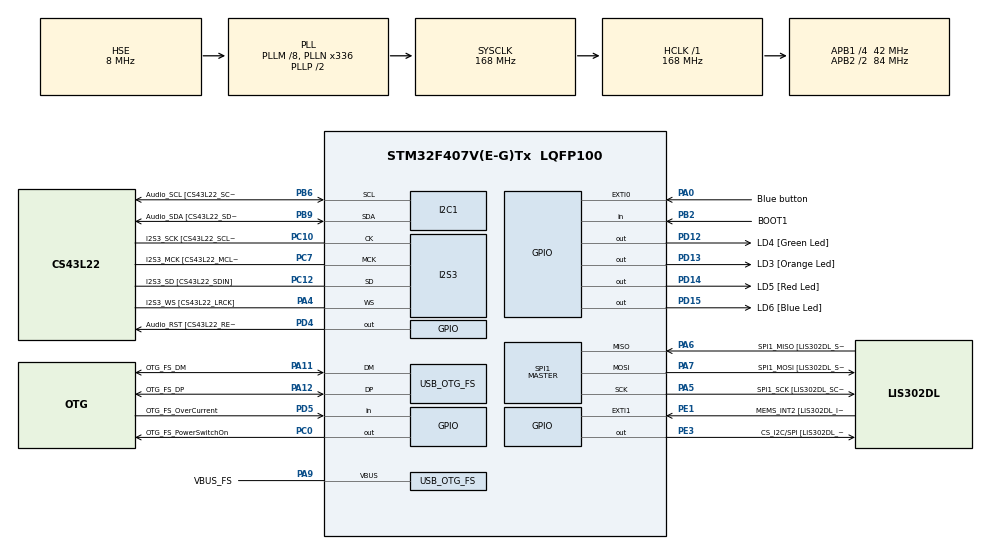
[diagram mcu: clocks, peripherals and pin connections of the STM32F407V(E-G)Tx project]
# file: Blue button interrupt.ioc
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I2S3.AudioFreq-Half_Duplex_Master=I2S_AUDIOFREQ_96K
I2S3.ErrorAudioFreq=-2.34 %
I2S3.ErrorAudioFreq-Half_Duplex_Master=0.8 %
I2S3.FullDuplexMode=I2S_FULLDUPLEXMODE_DISABLE
I2S3.Instance=SPI$Index
I2S3.RealAudioFreq=93.75 KHz
I2S3.RealAudioFreq-Half_Duplex_Master=96.774 KHz
I2S3.VirtualMode=I2S_MODE_MASTER
Mcu.Family=STM32F4
Mcu.Name=STM32F407V(E-G)Tx
Mcu.Package=LQFP100
NVIC.EXTI0_IRQn=true\:0\:0\:false\:false\:true\:true\:true\:true
NVIC.OTG_FS_IRQn=true\:0\:0\:false\:false\:true\:true\:true\:true
NVIC.PriorityGroup=NVIC_PRIORITYGROUP_0
PA0-WKUP.GPIO_Label=Blue button
PA0-WKUP.GPIO_PuPd=GPIO_PULLDOWN
PA0-WKUP.Signal=GPXTI0
PA10.GPIO_Label=OTG_FS_ID
PA10.GPIO_Mode=GPIO_MODE_AF_PP
PA10.GPIO_PuPd=GPIO_NOPULL
PA10.GPIO_Speed=GPIO_SPEED_FREQ_LOW
PA10.Signal=USB_OTG_FS_ID
PA11.GPIO_Label=OTG_FS_DM
PA11.GPIO_Mode=GPIO_MODE_AF_PP
PA11.GPIO_PuPd=GPIO_NOPULL
PA11.GPIO_Speed=GPIO_SPEED_FREQ_LOW
PA11.Mode=Host_Only
PA11.Signal=USB_OTG_FS_DM
PA12.GPIO_Label=OTG_FS_DP
PA12.GPIO_Mode=GPIO_MODE_AF_PP
PA12.GPIO_PuPd=GPIO_NOPULL
PA12.GPIO_Speed=GPIO_SPEED_FREQ_LOW
PA12.Mode=Host_Only
PA12.Signal=USB_OTG_FS_DP
PA13.GPIO_Label=SWDIO
PA13.Mode=Serial_Wire
PA13.Signal=SYS_JTMS-SWDIO
PA14.GPIO_Label=SWCLK
PA14.Mode=Serial_Wire
PA14.Signal=SYS_JTCK-SWCLK
PA4.GPIO_Label=I2S3_WS [CS43L22_LRCK]
PA4.GPIO_Mode=GPIO_MODE_AF_PP
PA4.GPIO_PuPd=GPIO_NOPULL
PA4.GPIO_Speed=GPIO_SPEED_FREQ_LOW
PA4.Mode=Half_Duplex_Master
PA4.Signal=I2S3_WS
PA5.GPIO_Label=SPI1_SCK [LIS302DL_SCL/SPC]
PA5.GPIO_Mode=GPIO_MODE_AF_PP
PA5.GPIO_PuPd=GPIO_NOPULL
PA5.GPIO_Speed=GPIO_SPEED_FREQ_LOW
PA5.Mode=Full_Duplex_Master
PA5.Signal=SPI1_SCK
PA6.GPIO_Label=SPI1_MISO [LIS302DL_SDO]
PA6.GPIO_Mode=GPIO_MODE_AF_PP
PA6.GPIO_PuPd=GPIO_NOPULL
PA6.GPIO_Speed=GPIO_SPEED_FREQ_LOW
PA6.Mode=Full_Duplex_Master
PA6.Signal=SPI1_MISO
PA7.GPIO_Label=SPI1_MOSI [LIS302DL_SDA/SDI/SDO]
PA7.GPIO_Mode=GPIO_MODE_AF_PP
PA7.GPIO_PuPd=GPIO_NOPULL
PA7.GPIO_Speed=GPIO_SPEED_FREQ_LOW
PA7.Mode=Full_Duplex_Master
PA7.Signal=SPI1_MOSI
PA9.GPIO_Label=VBUS_FS
PA9.GPIO_Mode=GPIO_MODE_INPUT
PA9.GPIO_PuPd=GPIO_NOPULL
PA9.Mode=Activate_VBUS
PA9.Signal=USB_OTG_FS_VBUS
PB10.GPIO_Label=CLK_IN [MP45DT02_CLK]
PB10.GPIO_Mode=GPIO_MODE_AF_PP
PB10.GPIO_PuPd=GPIO_NOPULL
PB10.GPIO_Speed=GPIO_SPEED_FREQ_LOW
PB10.Signal=I2S2_CK
PB2.GPIO_Label=BOOT1
PB2.GPIO_Mode=GPIO_MODE_INPUT
PB2.GPIO_PuPd=GPIO_NOPULL
PB2.Signal=GPIO_Input
PB3.GPIO_Label=SWO
PB3.Signal=SYS_JTDO-SWO
PB6.GPIO_Label=Audio_SCL [CS43L22_SCL]
PB6.GPIO_Mode=GPIO_MODE_AF_OD
PB6.GPIO_Pu=GPIO_PULLUP
PB6.GPIO_PuPd=GPIO_NOPULL
PB6.GPIO_Speed=GPIO_SPEED_FREQ_LOW
PB6.Mode=I2C
PB6.Signal=I2C1_SCL
PB9.GPIO_Label=Audio_SDA [CS43L22_SDA]
PB9.GPIO_Mode=GPIO_MODE_AF_OD
PB9.GPIO_Pu=GPIO_PULLUP
PB9.GPIO_PuPd=GPIO_NOPULL
PB9.GPIO_Speed=GPIO_SPEED_FREQ_LOW
PB9.Mode=I2C
PB9.Signal=I2C1_SDA
PC0.GPIO_Label=OTG_FS_PowerSwitchOn
PC0.GPIO_PuPd=GPIO_NOPULL
PC0.GPIO_Speed=GPIO_SPEED_FREQ_LOW
PC0.PinState=GPIO_PIN_SET
PC0.Signal=GPIO_Output
PC10.GPIO_Label=I2S3_SCK [CS43L22_SCLK]
PC10.GPIO_Mode=GPIO_MODE_AF_PP
PC10.GPIO_PuPd=GPIO_NOPULL
PC10.GPIO_Speed=GPIO_SPEED_FREQ_LOW
PC10.Mode=Half_Duplex_Master
PC10.Signal=I2S3_CK
PC12.GPIO_Label=I2S3_SD [CS43L22_SDIN]
PC12.GPIO_Mode=GPIO_MODE_AF_PP
PC12.GPIO_PuPd=GPIO_NOPULL
PC12.GPIO_Speed=GPIO_SPEED_FREQ_LOW
PC12.Mode=Half_Duplex_Master
PC12.Signal=I2S3_SD
PC14-OSC32_IN.GPIO_Label=PC14-OSC32_IN
PC14-OSC32_IN.Mode=LSE-External-Oscillator
PC14-OSC32_IN.Signal=RCC_OSC32_IN
PC15-OSC32_OUT.GPIO_Label=PC15-OSC32_OUT
PC15-OSC32_OUT.Mode=LSE-External-Oscillator
PC15-OSC32_OUT.Signal=RCC_OSC32_OUT
PC3.GPIO_Label=PDM_OUT [MP45DT02_DOUT]
PC3.GPIO_Mode=GPIO_MODE_AF_PP
PC3.GPIO_PuPd=GPIO_NOPULL
PC3.GPIO_Speed=GPIO_SPEED_FREQ_LOW
PC3.Signal=I2S2_SD
PC7.GPIO_Label=I2S3_MCK [CS43L22_MCLK]
PC7.GPIO_Mode=GPIO_MODE_AF_PP
PC7.GPIO_PuPd=GPIO_NOPULL
PC7.GPIO_Speed=GPIO_SPEED_FREQ_LOW
PC7.Mode=Master_Clock_Activated
PC7.Signal=I2S3_MCK
PD12.GPIO_Label=LD4 [Green Led]
PD12.GPIO_PuPd=GPIO_NOPULL
PD12.GPIO_Speed=GPIO_SPEED_FREQ_LOW
PD12.Signal=GPIO_Output
PD13.GPIO_Label=LD3 [Orange Led]
PD13.GPIO_PuPd=GPIO_NOPULL
PD13.GPIO_Speed=GPIO_SPEED_FREQ_LOW
PD13.Signal=GPIO_Output
PD14.GPIO_Label=LD5 [Red Led]
PD14.GPIO_PuPd=GPIO_NOPULL
PD14.GPIO_Speed=GPIO_SPEED_FREQ_LOW
PD14.Signal=GPIO_Output
PD15.GPIO_Label=LD6 [Blue Led]
PD15.GPIO_PuPd=GPIO_NOPULL
PD15.GPIO_Speed=GPIO_SPEED_FREQ_LOW
PD15.Signal=GPIO_Output
PD4.GPIO_Label=Audio_RST [CS43L22_RESET]
PD4.GPIO_PuPd=GPIO_NOPULL
PD4.GPIO_Speed=GPIO_SPEED_FREQ_LOW
PD4.Signal=GPIO_Output
PD5.GPIO_Label=OTG_FS_OverCurrent
PD5.GPIO_Mode=GPIO_MODE_INPUT
PD5.GPIO_PuPd=GPIO_NOPULL
PD5.Signal=GPIO_Input
PE1.GPIO_Label=MEMS_INT2 [LIS302DL_INT2]
PE1.GPIO_ModeDefaultEXTI=GPIO_MODE_EVT_RISING
PE1.GPIO_PuPd=GPIO_NOPULL
PE1.Signal=GPXTI1
PE3.GPIO_Label=CS_I2C/SPI [LIS302DL_CS_I2C/SPI]
PE3.GPIO_PuPd=GPIO_NOPULL
PE3.GPIO_Speed=GPIO_SPEED_FREQ_LOW
PE3.Signal=GPIO_Output
PH0-OSC_IN.GPIO_Label=PH0-OSC_IN
PH0-OSC_IN.Mode=HSE-External-Oscillator
PH0-OSC_IN.Signal=RCC_OSC_IN
PH1-OSC_OUT.GPIO_Label=PH1-OSC_OUT
PH1-OSC_OUT.Mode=HSE-External-Oscillator
PH1-OSC_OUT.Signal=RCC_OSC_OUT
ProjectManager.HeapSize=0x400
ProjectManager.StackSize=0x800
ProjectManager.TargetToolchain=STM32CubeIDE
RCC.48MHZClocksFreq_Value=48000000
RCC.AHBFreq_Value=168000000
RCC.APB1CLKDivider=RCC_HCLK_DIV4
RCC.APB1Freq_Value=42000000
RCC.APB1TimFreq_Value=84000000
RCC.APB2CLKDivider=RCC_HCLK_DIV2
RCC.APB2Freq_Value=84000000
RCC.APB2TimFreq_Value=168000000
RCC.CortexFreq_Value=168000000
RCC.HCLKFreq_Value=168000000
RCC.HSE_VALUE=8000000
RCC.HSI_VALUE=16000000
RCC.PLLM=8
RCC.PLLN=336
RCC.PLLQ=7
RCC.SYSCLKFreq_VALUE=168000000
RCC.SYSCLKSource=RCC_SYSCLKSOURCE_PLLCLK
RCC.VCOOutputFreq_Value=336000000
SPI1.BaudRatePrescaler-Full_Duplex_Master=SPI_BAUDRATEPRESCALER_2
SPI1.CalculateBaudRate-Full_Duplex_Master=42.0 MBits/s
SPI1.Direction=SPI_DIRECTION_2LINES
SPI1.Mode=SPI_MODE_MASTER
SPI1.Mode-Full_Duplex_Master=SPI_MODE_MASTER
SPI1.VirtualType=VM_MASTER
USB_HOST.BSP.number=1
USB_HOST.USBH_HandleTypeDef-CDC_FS=hUsbHostFS
USB_HOST.VirtualModeFS=Cdc
USB_HOST0.BSP.STBoard=false
USB_HOST0.BSP.api=Unknown
USB_HOST0.BSP.instance=PC0
USB_HOST0.BSP.ip=GPIO
USB_HOST0.BSP.mode=Output
USB_HOST0.BSP.name=Drive_VBUS_FS
USB_HOST0.BSP.solution=PC0
USB_OTG_FS.VirtualMode=Host_Only
USB_OTG_FS.phy_itface=HCD_PHY_EMBEDDED
VP_USB_HOST_VS_USB_HOST_CDC_FS.Mode=CDC_FS
board=STM32F407G-DISC1

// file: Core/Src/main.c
/* USER CODE BEGIN Header */
/**
 ******************************************************************************
 * @file           : main.c
 * @brief          : Main program body
 ******************************************************************************
 * @attention
 *
 * Copyright (c) 2025 STMicroelectronics.
 * All rights reserved.
 *
 * This software is licensed under terms that can be found in the LICENSE file
 * in the root directory of this software component.
 * If no LICENSE file comes with this software, it is provided AS-IS.
 *
 ******************************************************************************
 */
/* USER CODE END Header */
#include "main.h"

#include "usb_host.h"

/* USER CODE BEGIN Includes */

#include <stdbool.h>
/* USER CODE END Includes */

/* USER CODE BEGIN PD */
#define LED_PORT GPIOD
#define LED_PIN_GREEN GPIO_PIN_12
#define LED_PIN_ORANGE GPIO_PIN_13
#define LED_PIN_RED GPIO_PIN_14
#define LED_PIN_BLUE GPIO_PIN_15

#define BUTTON_PORT GPIOA
#define BUTTON_BLUE_PIN GPIO_PIN_0
/* USER CODE END PD */

I2C_HandleTypeDef hi2c1;

I2S_HandleTypeDef hi2s3;

SPI_HandleTypeDef hspi1;

volatile uint32_t button_event = 0;

void SystemClock_Config(void);
static void MX_GPIO_Init(void);
static void MX_I2C1_Init(void);
static void MX_I2S3_Init(void);
static void MX_SPI1_Init(void);
void MX_USB_HOST_Process(void);

/* USER CODE BEGIN PFP */
void pin_on(GPIO_TypeDef* port, uint16_t pin) {
    HAL_GPIO_WritePin(port, pin, GPIO_PIN_SET);
}
void pin_off(GPIO_TypeDef* port, uint16_t pin) {
    HAL_GPIO_WritePin(port, pin, GPIO_PIN_RESET);
}
bool blue_button_pressed() {
    return HAL_GPIO_ReadPin(GPIOA, BUTTON_BLUE_PIN) == GPIO_PIN_SET;
}
void HAL_GPIO_EXTI_Callback(uint16_t GPIO_Pin) {
    // if (GPIO_Pin == BUTTON_BLUE_PIN) {  // PA0/B1
    //     // static uint32_t last = 0;
    //     // uint32_t now = HAL_GetTick();
    //     // if (now - last > 30) button_event++;  // 簡單防彈跳
    //     // last = now;
    // }
    if (blue_button_pressed()) {
        HAL_GPIO_TogglePin(LED_PORT, LED_PIN_BLUE);
    }
}
/* USER CODE END PFP */

int main(void) {

    /* MCU
     * Configuration--------------------------------------------------------*/

    /* Reset of all peripherals, Initializes the Flash interface and the
     * Systick. */
    HAL_Init();

    /* Configure the system clock */
    SystemClock_Config();

    /* Initialize all configured peripherals */
    MX_GPIO_Init();
    MX_I2C1_Init();
    MX_I2S3_Init();
    MX_SPI1_Init();
    MX_USB_HOST_Init();

    /* Infinite loop */
    /* USER CODE BEGIN WHILE */
    while (1) {
        const uint16_t LEDs = LED_PIN_RED;
        pin_on(LED_PORT, LEDs);
        HAL_Delay(200);
        pin_off(LED_PORT, LEDs);
        HAL_Delay(200);
        /* USER CODE END WHILE */
        MX_USB_HOST_Process();

    }
}

void SystemClock_Config(void) {
    RCC_OscInitTypeDef RCC_OscInitStruct = {0};
    RCC_ClkInitTypeDef RCC_ClkInitStruct = {0};

    /** Configure the main internal regulator output voltage
     */
    __HAL_RCC_PWR_CLK_ENABLE();
    __HAL_PWR_VOLTAGESCALING_CONFIG(PWR_REGULATOR_VOLTAGE_SCALE1);

    /** Initializes the RCC Oscillators according to the specified parameters
     * in the RCC_OscInitTypeDef structure.
     */
    RCC_OscInitStruct.OscillatorType = RCC_OSCILLATORTYPE_HSE;
    RCC_OscInitStruct.HSEState = RCC_HSE_ON;
    RCC_OscInitStruct.PLL.PLLState = RCC_PLL_ON;
    RCC_OscInitStruct.PLL.PLLSource = RCC_PLLSOURCE_HSE;
    RCC_OscInitStruct.PLL.PLLM = 8;
    RCC_OscInitStruct.PLL.PLLN = 336;
    RCC_OscInitStruct.PLL.PLLP = RCC_PLLP_DIV2;
    RCC_OscInitStruct.PLL.PLLQ = 7;
    if (HAL_RCC_OscConfig(&RCC_OscInitStruct) != HAL_OK) {
        Error_Handler();
    }

    /** Initializes the CPU, AHB and APB buses clocks
     */
    RCC_ClkInitStruct.ClockType = RCC_CLOCKTYPE_HCLK | RCC_CLOCKTYPE_SYSCLK |
                                  RCC_CLOCKTYPE_PCLK1 | RCC_CLOCKTYPE_PCLK2;
    RCC_ClkInitStruct.SYSCLKSource = RCC_SYSCLKSOURCE_PLLCLK;
    RCC_ClkInitStruct.AHBCLKDivider = RCC_SYSCLK_DIV1;
    RCC_ClkInitStruct.APB1CLKDivider = RCC_HCLK_DIV4;
    RCC_ClkInitStruct.APB2CLKDivider = RCC_HCLK_DIV2;

    if (HAL_RCC_ClockConfig(&RCC_ClkInitStruct, FLASH_LATENCY_5) != HAL_OK) {
        Error_Handler();
    }
}

static void MX_I2C1_Init(void) {

    hi2c1.Instance = I2C1;
    hi2c1.Init.ClockSpeed = 100000;
    hi2c1.Init.DutyCycle = I2C_DUTYCYCLE_2;
    hi2c1.Init.OwnAddress1 = 0;
    hi2c1.Init.AddressingMode = I2C_ADDRESSINGMODE_7BIT;
    hi2c1.Init.DualAddressMode = I2C_DUALADDRESS_DISABLE;
    hi2c1.Init.OwnAddress2 = 0;
    hi2c1.Init.GeneralCallMode = I2C_GENERALCALL_DISABLE;
    hi2c1.Init.NoStretchMode = I2C_NOSTRETCH_DISABLE;
    if (HAL_I2C_Init(&hi2c1) != HAL_OK) {
        Error_Handler();
    }
}

static void MX_I2S3_Init(void) {

    hi2s3.Instance = SPI3;
    hi2s3.Init.Mode = I2S_MODE_MASTER_TX;
    hi2s3.Init.Standard = I2S_STANDARD_PHILIPS;
    hi2s3.Init.DataFormat = I2S_DATAFORMAT_16B;
    hi2s3.Init.MCLKOutput = I2S_MCLKOUTPUT_ENABLE;
    hi2s3.Init.AudioFreq = I2S_AUDIOFREQ_96K;
    hi2s3.Init.CPOL = I2S_CPOL_LOW;
    hi2s3.Init.ClockSource = I2S_CLOCK_PLL;
    hi2s3.Init.FullDuplexMode = I2S_FULLDUPLEXMODE_DISABLE;
    if (HAL_I2S_Init(&hi2s3) != HAL_OK) {
        Error_Handler();
    }
}

static void MX_SPI1_Init(void) {

    /* SPI1 parameter configuration*/
    hspi1.Instance = SPI1;
    hspi1.Init.Mode = SPI_MODE_MASTER;
    hspi1.Init.Direction = SPI_DIRECTION_2LINES;
    hspi1.Init.DataSize = SPI_DATASIZE_8BIT;
    hspi1.Init.CLKPolarity = SPI_POLARITY_LOW;
    hspi1.Init.CLKPhase = SPI_PHASE_1EDGE;
    hspi1.Init.NSS = SPI_NSS_SOFT;
    hspi1.Init.BaudRatePrescaler = SPI_BAUDRATEPRESCALER_2;
    hspi1.Init.FirstBit = SPI_FIRSTBIT_MSB;
    hspi1.Init.TIMode = SPI_TIMODE_DISABLE;
    hspi1.Init.CRCCalculation = SPI_CRCCALCULATION_DISABLE;
    hspi1.Init.CRCPolynomial = 10;
    if (HAL_SPI_Init(&hspi1) != HAL_OK) {
        Error_Handler();
    }
}

static void MX_GPIO_Init(void) {
    GPIO_InitTypeDef GPIO_InitStruct = {0};

    /* GPIO Ports Clock Enable */
    __HAL_RCC_GPIOE_CLK_ENABLE();
    __HAL_RCC_GPIOC_CLK_ENABLE();
    __HAL_RCC_GPIOH_CLK_ENABLE();
    __HAL_RCC_GPIOA_CLK_ENABLE();
    __HAL_RCC_GPIOB_CLK_ENABLE();
    __HAL_RCC_GPIOD_CLK_ENABLE();

    /*Configure GPIO pin Output Level */
    HAL_GPIO_WritePin(CS_I2C_SPI_GPIO_Port, CS_I2C_SPI_Pin, GPIO_PIN_RESET);

    /*Configure GPIO pin Output Level */
    HAL_GPIO_WritePin(OTG_FS_PowerSwitchOn_GPIO_Port, OTG_FS_PowerSwitchOn_Pin,
                      GPIO_PIN_SET);

    /*Configure GPIO pin Output Level */
    HAL_GPIO_WritePin(GPIOD,
                      LD4_Pin | LD3_Pin | LD5_Pin | LD6_Pin | Audio_RST_Pin,
                      GPIO_PIN_RESET);

    /*Configure GPIO pin : CS_I2C_SPI_Pin */
    GPIO_InitStruct.Pin = CS_I2C_SPI_Pin;
    GPIO_InitStruct.Mode = GPIO_MODE_OUTPUT_PP;
    GPIO_InitStruct.Pull = GPIO_NOPULL;
    GPIO_InitStruct.Speed = GPIO_SPEED_FREQ_LOW;
    HAL_GPIO_Init(CS_I2C_SPI_GPIO_Port, &GPIO_InitStruct);

    /*Configure GPIO pin : OTG_FS_PowerSwitchOn_Pin */
    GPIO_InitStruct.Pin = OTG_FS_PowerSwitchOn_Pin;
    GPIO_InitStruct.Mode = GPIO_MODE_OUTPUT_PP;
    GPIO_InitStruct.Pull = GPIO_NOPULL;
    GPIO_InitStruct.Speed = GPIO_SPEED_FREQ_LOW;
    HAL_GPIO_Init(OTG_FS_PowerSwitchOn_GPIO_Port, &GPIO_InitStruct);

    /*Configure GPIO pin : PDM_OUT_Pin */
    GPIO_InitStruct.Pin = PDM_OUT_Pin;
    GPIO_InitStruct.Mode = GPIO_MODE_AF_PP;
    GPIO_InitStruct.Pull = GPIO_NOPULL;
    GPIO_InitStruct.Speed = GPIO_SPEED_FREQ_LOW;
    GPIO_InitStruct.Alternate = GPIO_AF5_SPI2;
    HAL_GPIO_Init(PDM_OUT_GPIO_Port, &GPIO_InitStruct);

    /*Configure GPIO pin : Blue_button_Pin */
    GPIO_InitStruct.Pin = Blue_button_Pin;
    GPIO_InitStruct.Mode = GPIO_MODE_IT_RISING;
    GPIO_InitStruct.Pull = GPIO_PULLDOWN;
    HAL_GPIO_Init(Blue_button_GPIO_Port, &GPIO_InitStruct);

    /*Configure GPIO pin : BOOT1_Pin */
    GPIO_InitStruct.Pin = BOOT1_Pin;
    GPIO_InitStruct.Mode = GPIO_MODE_INPUT;
    GPIO_InitStruct.Pull = GPIO_NOPULL;
    HAL_GPIO_Init(BOOT1_GPIO_Port, &GPIO_InitStruct);

    /*Configure GPIO pin : CLK_IN_Pin */
    GPIO_InitStruct.Pin = CLK_IN_Pin;
    GPIO_InitStruct.Mode = GPIO_MODE_AF_PP;
    GPIO_InitStruct.Pull = GPIO_NOPULL;
    GPIO_InitStruct.Speed = GPIO_SPEED_FREQ_LOW;
    GPIO_InitStruct.Alternate = GPIO_AF5_SPI2;
    HAL_GPIO_Init(CLK_IN_GPIO_Port, &GPIO_InitStruct);

    /*Configure GPIO pins : LD4_Pin LD3_Pin LD5_Pin LD6_Pin
                             Audio_RST_Pin */
    GPIO_InitStruct.Pin = LD4_Pin | LD3_Pin | LD5_Pin | LD6_Pin | Audio_RST_Pin;
    GPIO_InitStruct.Mode = GPIO_MODE_OUTPUT_PP;
    GPIO_InitStruct.Pull = GPIO_NOPULL;
    GPIO_InitStruct.Speed = GPIO_SPEED_FREQ_LOW;
    HAL_GPIO_Init(GPIOD, &GPIO_InitStruct);

    /*Configure GPIO pin : OTG_FS_OverCurrent_Pin */
    GPIO_InitStruct.Pin = OTG_FS_OverCurrent_Pin;
    GPIO_InitStruct.Mode = GPIO_MODE_INPUT;
    GPIO_InitStruct.Pull = GPIO_NOPULL;
    HAL_GPIO_Init(OTG_FS_OverCurrent_GPIO_Port, &GPIO_InitStruct);

    /*Configure GPIO pin : MEMS_INT2_Pin */
    GPIO_InitStruct.Pin = MEMS_INT2_Pin;
    GPIO_InitStruct.Mode = GPIO_MODE_EVT_RISING;
    GPIO_InitStruct.Pull = GPIO_NOPULL;
    HAL_GPIO_Init(MEMS_INT2_GPIO_Port, &GPIO_InitStruct);

    /* EXTI interrupt init*/
    HAL_NVIC_SetPriority(EXTI0_IRQn, 0, 0);
    HAL_NVIC_EnableIRQ(EXTI0_IRQn);

}

void Error_Handler(void) {
    /* USER CODE BEGIN Error_Handler_Debug */
    /* User can add his own implementation to report the HAL error return state
     */
    __disable_irq();
    while (1) {
    }
    /* USER CODE END Error_Handler_Debug */
}
#ifdef USE_FULL_ASSERT
/**
 * @brief  Reports the name of the source file and the source line number
 *         where the assert_param error has occurred.
 * @param  file: pointer to the source file name
 * @param  line: assert_param error line source number
 * @retval None
 */
void assert_failed(uint8_t* file, uint32_t line) {
    /* USER CODE BEGIN 6 */
    /* User can add his own implementation to report the file name and line
       number, ex: printf("Wrong parameters value: file %s on line %d\r\n",
       file, line) */
    /* USER CODE END 6 */
}
#endif /* USE_FULL_ASSERT */
